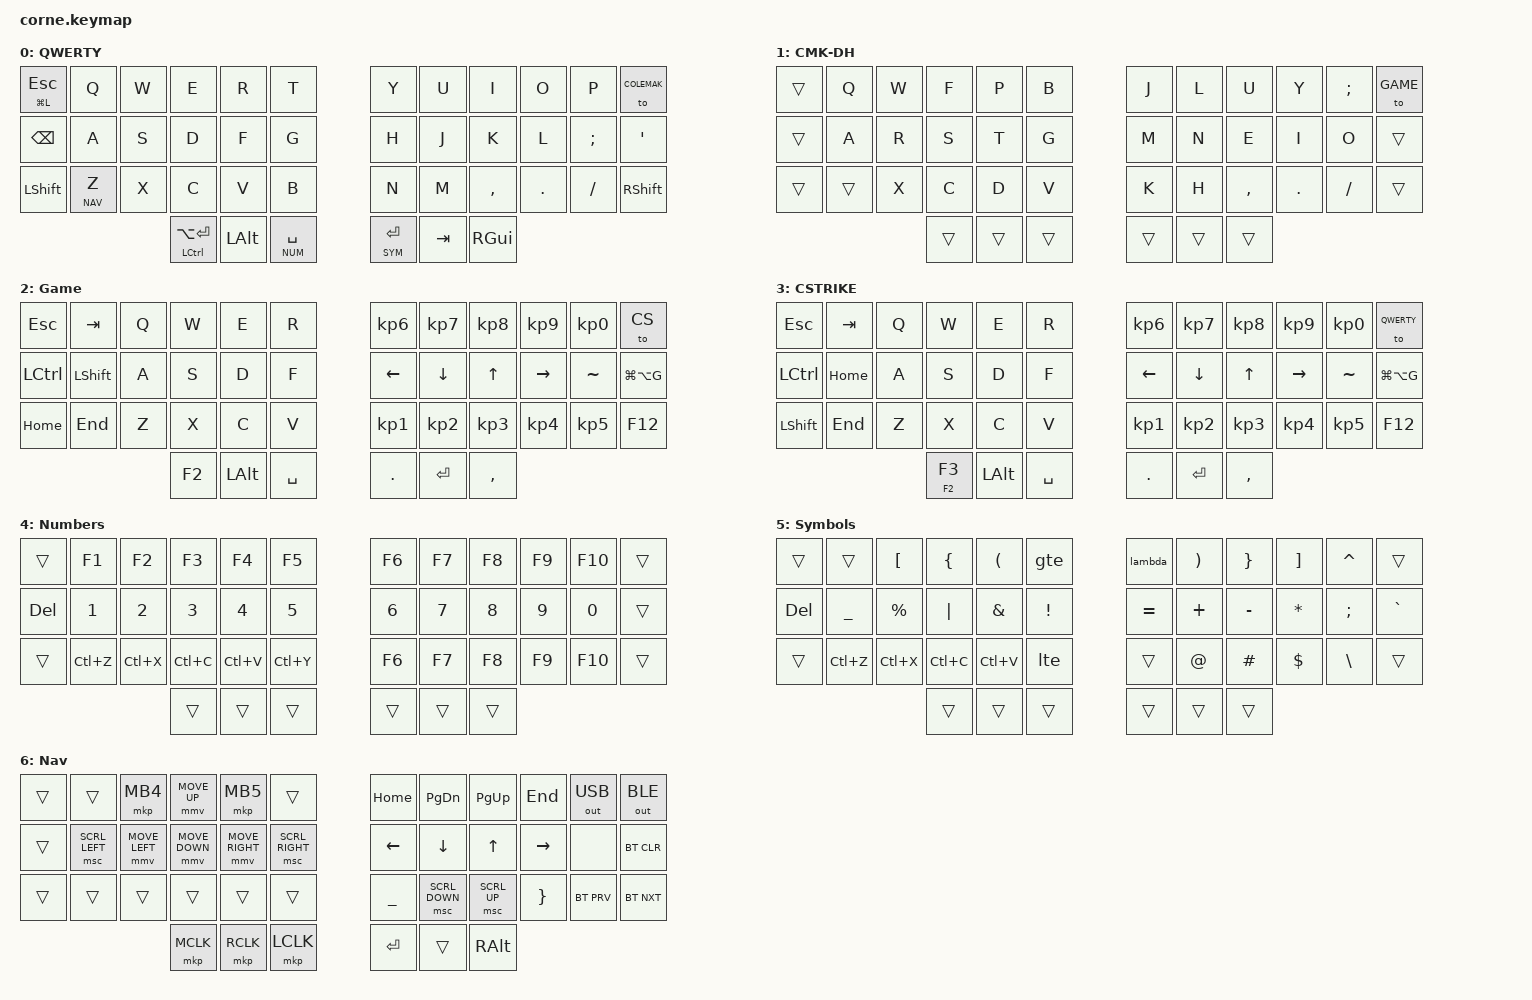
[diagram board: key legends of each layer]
/*
 * Copyright (c) 2020 The ZMK Contributors
 *
 * SPDX-License-Identifier: MIT
 */
 
//MOUSE CONFIG
 #define ZMK_POINTING_DEFAULT_MOVE_VAL 1500  // default: 600
 #define ZMK_POINTING_DEFAULT_SCRL_VAL 15    // default: 10


//IMPORT
#include <behaviors.dtsi>
#include <dt-bindings/zmk/bt.h>
#include <dt-bindings/zmk/keys.h>
#include <dt-bindings/zmk/pointing.h>
#include <dt-bindings/zmk/outputs.h>


//LAYER CONFIG
#define QWERTY  0
#define COLEMAK 1
#define GAME    2
#define CS      3
#define NUM     4
#define SYM     5
#define NAV     6


/ {
    behaviors {
        lth: layer_tap_hold_pref{
            compatible = "zmk,behavior-hold-tap";
            #binding-cells = <2>;
            flavor = "hold-preferred";
            tapping-term-ms = <200>;
            bindings = <&mo>, <&kp>;
            display-name = "Layer-Tap (Hold Preferred)";
        };
        mtl: mod_tap_long{
            compatible = "zmk,behavior-hold-tap";
            #binding-cells = <2>;
            flavor = "tap-preferred";
            tapping-term-ms = <500>;
            bindings = <&kp>, <&kp>;
            display-name = "Mod-Tap (Long)";
        };
        mtt: mod_tap_tap_pref {
            compatible = "zmk,behavior-hold-tap";
            #binding-cells = <2>;
            flavor = "tap-preferred";
            tapping-term-ms = <200>;
            bindings = <&kp>, <&kp>;
            display-name = "Mod-Tap (Tap Preferred)";
        };
    };
    macros {
        lambda: lambda {
            compatible = "zmk,behavior-macro";
            #binding-cells = <0>;
            wait-ms = <20>;
            tap-ms = <10>;
            bindings = <&kp EQUAL &kp GT>;
        };
        gte: gte {
            compatible = "zmk,behavior-macro";
            #binding-cells = <0>;
            wait-ms = <20>;
            tap-ms = <10>;
            bindings = <&kp GT &kp EQUAL>;
        };
        lte: lte {
            compatible = "zmk,behavior-macro";
            #binding-cells = <0>;
            wait-ms = <20>;
            tap-ms = <10>;
            bindings = <&kp LT &kp EQUAL>;
        };
    };
    keymap {
        compatible = "zmk,keymap";

        qwerty {
            display-name = "QWERTY";
            bindings = <
&mtl LG(L) ESC        &kp Q        &kp W   &kp E   &kp R   &kp T        &kp Y      &kp U       &kp I       &kp O       &kp P       &to COLEMAK
&kp BSPC       &kp A        &kp S   &kp D   &kp F   &kp G        &kp H      &kp J       &kp K       &kp L       &kp SEMI    &kp APOS
&kp LSHIFT     &lt NAV Z    &kp X   &kp C   &kp V   &kp B        &kp N      &kp M       &kp COMMA   &kp DOT     &kp FSLH    &kp RSHIFT 
     &mt LCTRL LA(RET)      &kp LALT        &lt NUM SPACE        &lth SYM RET    &kp TAB     &kp RGUI
            >;
        };
        
        colemak_dh {
            display-name = "CMK-DH";
            bindings = <
&trans  &kp Q    &kp W    &kp F   &kp P   &kp B        &kp J   &kp L   &kp U      &kp Y    &kp SEMI  &to GAME
&trans  &kp A    &kp R    &kp S   &kp T   &kp G        &kp M   &kp N   &kp E      &kp I    &kp O     &trans
&trans  &trans   &kp X    &kp C   &kp D   &kp V        &kp K   &kp H   &kp COMMA  &kp DOT  &kp FSLH  &trans
                         &trans  &trans  &trans       &trans  &trans  &trans
            >;
        };
        
        game {
            display-name = "Game";
            bindings = <
&kp ESC    &kp TAB     &kp Q   &kp W   &kp E   &kp R        &kp KP_N6       &kp KP_N7       &kp KP_N8      &kp KP_N9        &kp KP_N0      &to CS
&kp LCTRL  &kp LSHIFT  &kp A   &kp S   &kp D   &kp F        &kp LEFT_ARROW  &kp DOWN_ARROW  &kp UP_ARROW   &kp RIGHT_ARROW  &kp TILDE      &kp LG(LA(G))
&kp HOME   &kp END     &kp Z   &kp X   &kp C   &kp V        &kp KP_N1       &kp KP_N2       &kp KP_N3      &kp KP_N4        &kp KP_N5      &kp F12 
                       &kp F2  &kp LALT    &kp SPACE        &kp DOT         &kp RET         &kp COMMA
            >;
        };
        
        cs {
            display-name = "CSTRIKE";
            bindings = <
&kp ESC      &kp TAB   &kp Q   &kp W   &kp E   &kp R        &kp KP_N6       &kp KP_N7       &kp KP_N8      &kp KP_N9        &kp KP_N0      &to QWERTY
&kp LCTRL    &kp HOME  &kp A   &kp S   &kp D   &kp F        &kp LEFT_ARROW  &kp DOWN_ARROW  &kp UP_ARROW   &kp RIGHT_ARROW  &kp TILDE      &kp LG(LA(G))
&kp LSHIFT   &kp END   &kp Z   &kp X   &kp C   &kp V        &kp KP_N1       &kp KP_N2       &kp KP_N3      &kp KP_N4        &kp KP_N5      &kp F12 
                   &mtt F2 F3  &kp LALT    &kp SPACE        &kp DOT         &kp RET         &kp COMMA
            >;
        };

        numbers {
            display-name = "Numbers";
            bindings = <
&trans   &kp F1  &kp F2  &kp F3  &kp F4  &kp F5                 &kp F6  &kp F7  &kp F8  &kp F9  &kp F10  &trans
&kp DEL  &kp N1  &kp N2  &kp N3  &kp N4  &kp N5                 &kp N6  &kp N7  &kp N8  &kp N9  &kp N0   &trans
&trans   &kp LC(Z)  &kp LC(X)  &kp LC(C)  &kp LC(V) &kp LC(Y)   &kp F6  &kp F7  &kp F8  &kp F9  &kp F10  &trans
                         &trans  &trans  &trans                 &trans  &trans  &trans
            >; 
        };

        symbols {
            display-name = "Symbols";
            bindings = <
&trans   &trans      &kp LBKT      &kp LBRC   &kp LPAR   &gte        &lambda    &kp RPAR  &kp RBRC  &kp RBKT    &kp CARET  &trans
&kp DEL  &kp UNDER   &kp PRCNT  &kp PIPE   &kp AMPS   &kp EXCL       &kp EQUAL  &kp PLUS   &kp MINUS  &kp STAR  &kp SEMI   &kp GRAVE  
&trans   &kp LC(Z)   &kp LC(X)  &kp LC(C)  &kp LC(V)  &lte           &trans     &kp AT     &kp HASH   &kp DLLR  &kp BSLH   &trans
                               &trans     &trans     &trans         &trans     &trans     &trans
            >;
        };

        navigation {
            display-name = "Nav";
            bindings = <
&trans  &trans           &mkp MB4        &mmv MOVE_UP    &mkp MB5         &trans              &kp HOME        &kp PAGE_DOWN   &kp PG_UP     &kp END          &out OUT_USB  &out OUT_BLE
&trans  &msc SCRL_LEFT  &mmv MOVE_LEFT  &mmv MOVE_DOWN  &mmv MOVE_RIGHT  &msc SCRL_RIGHT    &kp LEFT_ARROW  &kp DOWN_ARROW  &kp UP_ARROW  &kp RIGHT_ARROW  &none         &bt BT_CLR
&trans  &trans           &trans           &trans           &trans            &trans              &kp UNDER       &msc SCRL_DOWN  &msc SCRL_UP  &kp RBRC         &bt BT_PRV    &bt BT_NXT
                                       &mkp MCLK       &mkp RCLK        &mkp LCLK          &kp RET         &trans          &kp RALT
            >;
        };
    };
};
